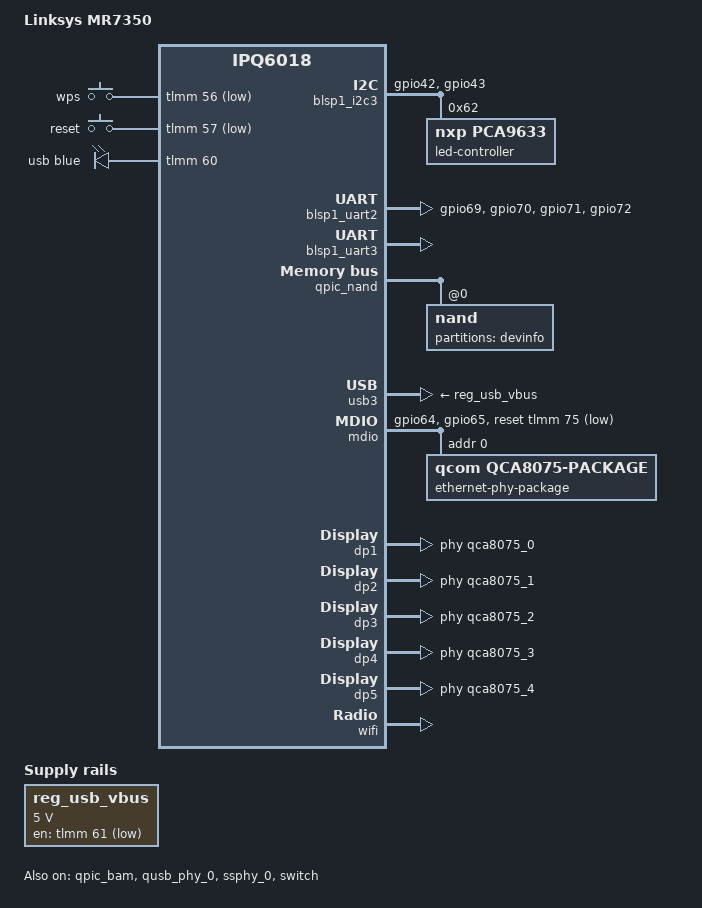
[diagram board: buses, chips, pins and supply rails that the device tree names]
// SPDX-License-Identifier: GPL-2.0-or-later OR MIT

/dts-v1/;

#include "ipq6018.dtsi"
#include "ipq6018-cp-cpu.dtsi"
#include "ipq6018-ess.dtsi"
#include <dt-bindings/gpio/gpio.h>
#include <dt-bindings/input/input.h>
#include <dt-bindings/leds/common.h>

/ {
	model = "Linksys MR7350";
	compatible = "linksys,mr7350", "qcom,ipq6018";

	aliases {
		serial0 = &blsp1_uart3;
		serial1 = &blsp1_uart2;
		led-boot = &led_system_blue;
		led-running = &led_system_blue;
		led-failsafe = &led_system_red;
		led-upgrade = &led_system_green;
	};

	chosen {
		stdout-path = "serial0:115200n8";
		bootargs-append = " root=/dev/ubiblock0_0";
	};

	keys {
		compatible = "gpio-keys";

		wps-button {
			label = "wps";
			linux,code = <KEY_WPS_BUTTON>;
			gpios = <&tlmm 56 GPIO_ACTIVE_LOW>;
		};

		reset-button {
			label = "reset";
			linux,code = <KEY_RESTART>;
			gpios = <&tlmm 57 GPIO_ACTIVE_LOW>;
		};
	};

	leds {
		compatible = "gpio-leds";

		usb {
			color = <LED_COLOR_ID_BLUE>;
			function = LED_FUNCTION_USB;
			gpios = <&tlmm 60 GPIO_ACTIVE_HIGH>;
			trigger-sources = <&usb3_port1>, <&usb3_port2>;
			linux,default-trigger = "usbport";
		};
	};

	reg_usb_vbus: regulator-usb-vbus {
		compatible = "regulator-fixed";
		regulator-name = "usb_vbus";
		regulator-min-microvolt = <5000000>;
		regulator-max-microvolt = <5000000>;
		gpio = <&tlmm 61 GPIO_ACTIVE_LOW>;
		regulator-boot-on;
	};
};

&tlmm {
	hsuart_pins: hsuart-pins {
		mux {
			pins = "gpio69", "gpio70",
				"gpio71", "gpio72";
			function = "blsp1_uart";
			drive-strength = <8>;
			bias-disable;
		};
	};

	i2c_pins: i2c-pins {
		mux {
			pins = "gpio42", "gpio43";
			function = "blsp2_i2c";
			drive-strength = <8>;
			bias-pull-down;
		};
	};

	mdio_pins: mdio-state {
		mdc-pins {
			pins = "gpio64";
			function = "mdc";
			drive-strength = <8>;
			bias-pull-up;
		};

		mdio-pins {
			pins = "gpio65";
			function = "mdio";
			drive-strength = <8>;
			bias-pull-up;
		};
	};
};

&blsp1_i2c3 {
	pinctrl-0 = <&i2c_pins>;
	pinctrl-names = "default";
	status = "okay";

	led-controller@62 {
		compatible = "nxp,pca9633";
		#address-cells = <1>;
		#size-cells = <0>;
		reg = <0x62>;

		led_system_red: led@0 {
			reg = <0>;
			color = <LED_COLOR_ID_RED>;
			function = LED_FUNCTION_STATUS;
		};

		led_system_green: led@1 {
			reg = <1>;
			color = <LED_COLOR_ID_GREEN>;
			function = LED_FUNCTION_STATUS;
		};

		led_system_blue: led@2 {
			reg = <2>;
			color = <LED_COLOR_ID_BLUE>;
			function = LED_FUNCTION_STATUS;
		};
	};
};

&blsp1_uart2 {
	pinctrl-0 = <&hsuart_pins>;
	pinctrl-names = "default";
	status = "okay";
};

&blsp1_uart3 {
	pinctrl-0 = <&serial_3_pins>;
	pinctrl-names = "default";
	status = "okay";
};

&dwc_0 {
	#address-cells = <1>;
	#size-cells = <0>;

	usb3_port1: port@1 {
		reg = <1>;
		#trigger-source-cells = <0>;
	};

	usb3_port2: port@2 {
		reg = <2>;
		#trigger-source-cells = <0>;
	};
};

&qpic_bam {
	status = "okay";
};

&qpic_nand {
	status = "okay";

	nand@0 {
		reg = <0>;
		nand-ecc-strength = <4>;
		nand-ecc-step-size = <512>;
		nand-bus-width = <8>;

		partitions {
			compatible = "qcom,smem-part";
			#address-cells = <1>;
			#size-cells = <1>;

			partition-0-devinfo {
				label = "devinfo";
				read-only;
				#address-cells = <1>;
				#size-cells = <1>;

				nvmem-layout {
					compatible = "ascii-eq-delim-env";
					#address-cells = <1>;
					#size-cells = <1>;

					hw_mac_addr: hw_mac_addr {
						compatible = "mac-base";
						#nvmem-cell-cells = <1>;
					};
				};
			};
		};
	};
};

&qusb_phy_0 {
	status = "okay";

	vdd-supply = <&reg_usb_vbus>;
};

&ssphy_0 {
	status = "okay";
};

&usb3 {
	vbus-supply = <&reg_usb_vbus>;
	status = "okay";
};

&mdio {
	status = "okay";

	pinctrl-0 = <&mdio_pins>;
	pinctrl-names = "default";
	reset-gpios = <&tlmm 75 GPIO_ACTIVE_LOW>;

	ethernet-phy-package@0 {
		compatible = "qcom,qca8075-package";
		#address-cells = <1>;
		#size-cells = <0>;
		reg = <0>;

		qca8075_0: ethernet-phy@0 {
			compatible = "ethernet-phy-ieee802.3-c22";
			reg = <0>;

			leds {
				#address-cells = <1>;
				#size-cells = <0>;

				led@0 {
					reg = <0>;
					color = <LED_COLOR_ID_ORANGE>;
					function = LED_FUNCTION_LAN;
					default-state = "keep";
				};

				led@1 {
					reg = <1>;
					color = <LED_COLOR_ID_GREEN>;
					function = LED_FUNCTION_LAN;
					default-state = "keep";
				};
			};
		};

		qca8075_1: ethernet-phy@1 {
			compatible = "ethernet-phy-ieee802.3-c22";
			reg = <1>;

			leds {
				#address-cells = <1>;
				#size-cells = <0>;

				led@0 {
					reg = <0>;
					color = <LED_COLOR_ID_ORANGE>;
					function = LED_FUNCTION_LAN;
					default-state = "keep";
				};

				led@1 {
					reg = <1>;
					color = <LED_COLOR_ID_GREEN>;
					function = LED_FUNCTION_LAN;
					default-state = "keep";
				};
			};
		};

		qca8075_2: ethernet-phy@2 {
			compatible = "ethernet-phy-ieee802.3-c22";
			reg = <2>;

			leds {
				#address-cells = <1>;
				#size-cells = <0>;

				led@0 {
					reg = <0>;
					color = <LED_COLOR_ID_ORANGE>;
					function = LED_FUNCTION_LAN;
					default-state = "keep";
				};

				led@1 {
					reg = <1>;
					color = <LED_COLOR_ID_GREEN>;
					function = LED_FUNCTION_LAN;
					default-state = "keep";
				};
			};
		};

		qca8075_3: ethernet-phy@3 {
			compatible = "ethernet-phy-ieee802.3-c22";
			reg = <3>;

			leds {
				#address-cells = <1>;
				#size-cells = <0>;

				led@0 {
					reg = <0>;
					color = <LED_COLOR_ID_ORANGE>;
					function = LED_FUNCTION_LAN;
					default-state = "keep";
				};

				led@1 {
					reg = <1>;
					color = <LED_COLOR_ID_GREEN>;
					function = LED_FUNCTION_LAN;
					default-state = "keep";
				};
			};
		};

		qca8075_4: ethernet-phy@4 {
			compatible = "ethernet-phy-ieee802.3-c22";
			reg = <4>;

			leds {
				#address-cells = <1>;
				#size-cells = <0>;

				led@0 {
					reg = <0>;
					color = <LED_COLOR_ID_ORANGE>;
					function = LED_FUNCTION_WAN;
					default-state = "keep";
				};

				led@1 {
					reg = <1>;
					color = <LED_COLOR_ID_GREEN>;
					function = LED_FUNCTION_WAN;
					default-state = "keep";
				};
			};
		};
	};
};

&switch {
	status = "okay";

	switch_lan_bmp = <(ESS_PORT1 | ESS_PORT2 | ESS_PORT3 | ESS_PORT4)>;
	switch_wan_bmp = <ESS_PORT5>;
	switch_mac_mode = <MAC_MODE_PSGMII>;

	qcom,port_phyinfo {
		port@1 {
			port_id = <1>;
			phy_address = <0>;
		};
		port@2 {
			port_id = <2>;
			phy_address = <1>;
		};
		port@3 {
			port_id = <3>;
			phy_address = <2>;
		};
		port@4 {
			port_id = <4>;
			phy_address = <3>;
		};
		port@5 {
			port_id = <5>;
			phy_address = <4>;
		};
	};
};

&edma {
	status = "okay";
};

&dp1 {
	status = "okay";
	phy-handle = <&qca8075_0>;
	label = "lan1";
	nvmem-cells = <&hw_mac_addr 1>;
	nvmem-cell-names = "mac-address";
};

&dp2 {
	status = "okay";
	phy-handle = <&qca8075_1>;
	label = "lan2";
	nvmem-cells = <&hw_mac_addr 1>;
	nvmem-cell-names = "mac-address";
};

&dp3 {
	status = "okay";
	phy-handle = <&qca8075_2>;
	label = "lan3";
	nvmem-cells = <&hw_mac_addr 1>;
	nvmem-cell-names = "mac-address";
};

&dp4 {
	status = "okay";
	phy-handle = <&qca8075_3>;
	label = "lan4";
	nvmem-cells = <&hw_mac_addr 1>;
	nvmem-cell-names = "mac-address";
};

&dp5 {
	status = "okay";
	phy-handle = <&qca8075_4>;
	label = "wan";
	nvmem-cells = <&hw_mac_addr 0>;
	nvmem-cell-names = "mac-address";
};

&wifi {
	status = "okay";

	qcom,ath11k-calibration-variant = "Linksys-MR7350";
	qcom,ath11k-fw-memory-mode = <1>;
};
